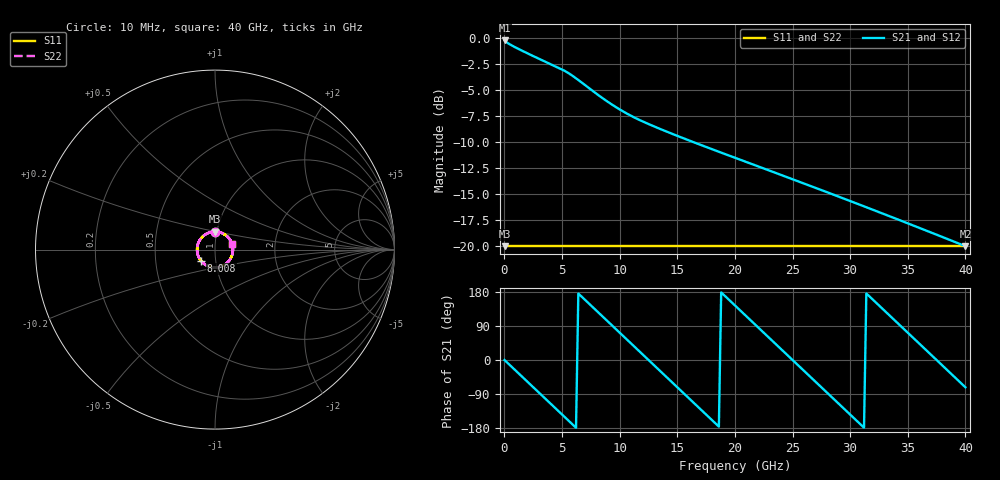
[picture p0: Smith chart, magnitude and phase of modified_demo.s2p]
! Generated by insertion_loss_tool
! Matrix convention: Sij means output port i due to input port j
# GHZ S RI R 50
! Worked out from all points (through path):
!   203 points, 10 MHz to 40 GHz, reference 50 ohm
!   highest |S21| = -0.20 dB at 10 MHz (marker M1); lowest = -20.0 dB at 40 GHz (marker M2)
!   group delay of S21, straight-line fit = 80 ps
!   lowest |S11| = -20.0 dB at 10 MHz (marker M3), VSWR 1.22, Z = 49.1 + j9.91 ohm
!   |S11| at or under -10 dB: start of sweep to end of sweep
!   |S22| runs from -20.0 to -20.0 dB; largest |S21 - S12| = 0
!   S11 on the Smith chart (normalised r, x): 10 MHz: 0.98, +0.20; 8.008 GHz: 0.85, -0.11; 40 GHz: 1.21, +0.08
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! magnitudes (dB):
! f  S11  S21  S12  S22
! 10 MHz  -20.0  -0.2  -0.2  -20.0
! 209.9 MHz  -20.0  -0.4  -0.4  -20.0
! 409.9 MHz  -20.0  -0.5  -0.5  -20.0
! 1.21 GHz  -20.0  -1.0  -1.0  -20.0
! 2.609 GHz  -20.0  -1.8  -1.8  -20.0
! 5.209 GHz  -20.0  -3.1  -3.1  -20.0
! 5.809 GHz  -20.0  -3.5  -3.5  -20.0
! 6.808 GHz  -20.0  -4.3  -4.3  -20.0
! 8.008 GHz  -20.0  -5.4  -5.4  -20.0
! 8.808 GHz  -20.0  -6.0  -6.0  -20.0
! 9.408 GHz  -20.0  -6.4  -6.4  -20.0
! 10.01 GHz  -20.0  -6.8  -6.8  -20.0
! 10.61 GHz  -20.0  -7.2  -7.2  -20.0
! 11.21 GHz  -20.0  -7.6  -7.6  -20.0
! 11.81 GHz  -20.0  -7.9  -7.9  -20.0
! 13.41 GHz  -20.0  -8.7  -8.7  -20.0
! 16.01 GHz  -20.0  -9.8  -9.8  -20.0
! 20 GHz  -20.0  -11.5  -11.5  -20.0
! 26.8 GHz  -20.0  -14.3  -14.3  -20.0
! 30.2 GHz  -20.0  -15.7  -15.7  -20.0
! 33.4 GHz  -20.0  -17.1  -17.1  -20.0
! 40 GHz  -20.0  -20.0  -20.0  -20.0
